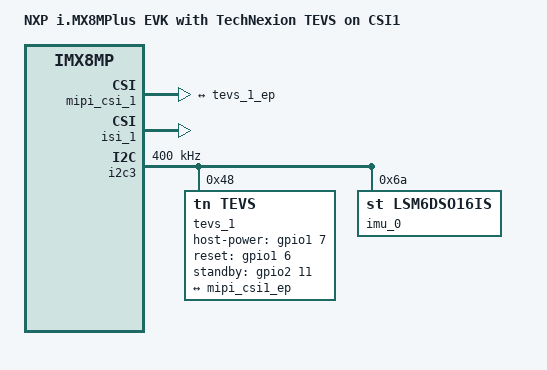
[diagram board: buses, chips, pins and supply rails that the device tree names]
// SPDX-License-Identifier: (GPL-2.0+ OR MIT)
/*
 * Copyright 2024 TechNexion Ltd.
 *
 * Author: Nian Yang <nian.yang@technexion.com>
 */

#include "imx8mp-evk.dts"

/ {
	model = "NXP i.MX8MPlus EVK with TechNexion TEVS on CSI1";
};

&iomuxc {
	tevs_pinctrl_csi1_ctrl: tevs-csi1-ctrl-grp {
		fsl,pins = <
			/* TEVS standby */
			MX8MP_IOMUXC_SD1_STROBE__GPIO2_IO11	0x9

			/* TEVS host power */
			MX8MP_IOMUXC_GPIO1_IO07__GPIO1_IO07	0x9
		>;
	};

	tevs_pinctrl_csi1_mclk: tevs-csi1-mclk-grp {
		fsl,pins = <
			MX8MP_IOMUXC_GPIO1_IO15__GPIO1_IO15	0x9
		>;
	};

	tevs_pinctrl_csi1_rst: tevs-csi1-rst-grp {
		fsl,pins = <
			MX8MP_IOMUXC_GPIO1_IO06__GPIO1_IO06	0x19
		>;
	};
};

/*
 * Disable CSI0 because this DTS uses CSI1.
 */
&mipi_csi_0 {
	status = "disabled";
};

/*
 * CSI1 sensor connection.
 * port@1/reg = 1 identifies the second MIPI-CSI interface
 * in the NXP legacy capture framework.
 */
&mipi_csi_1 {
	#address-cells = <1>;
	#size-cells = <0>;
	status = "okay";

	port@1 {
		reg = <1>;

		mipi_csi1_ep: endpoint {
			remote-endpoint = <&tevs_1_ep>;
			data-lanes = <4>;
			csis-hs-settle = <13>;
			csis-clk-settle = <2>;
			csis-wclk;
		};
	};
};

/*
 * CSI0 normally uses ISI0.
 * Disable it because this DTS uses CSI1.
 */
&isi_0 {
	status = "disabled";
};

/*
 * CSI1 uses ISI1.
 */
&isi_1 {
	status = "okay";

	cap_device {
		status = "okay";
	};
};

&i2c3 {
	clock-frequency = <400000>;
	status = "okay";

	/delete-node/ ov5640_mipi@3c;

	tevs_1: tevs@48 {
		compatible = "tn,tevs";
		reg = <0x48>;
		status = "okay";

		pinctrl-names = "default";
		pinctrl-0 = <
			&tevs_pinctrl_csi1_ctrl
			&tevs_pinctrl_csi1_rst
			&tevs_pinctrl_csi1_mclk
		>;

		host-power-gpios = <&gpio1 7 GPIO_ACTIVE_HIGH>;
		reset-gpios = <&gpio1 6 GPIO_ACTIVE_HIGH>;
		standby-gpios = <&gpio2 11 GPIO_ACTIVE_HIGH>;

		csi_id = <1>;

		port {
			tevs_1_ep: endpoint {
				remote-endpoint = <&mipi_csi1_ep>;
				data-lanes = <1 2 3 4>;
				clock-lanes = <0>;
				clock-noncontinuous;
				link-frequencies = /bits/ 64 <400000000>;
			};
		};
	};

	imu_0: lsm6dsm@6a {
		compatible = "st,lsm6dso16is";
		reg = <0x6a>;
	};
};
